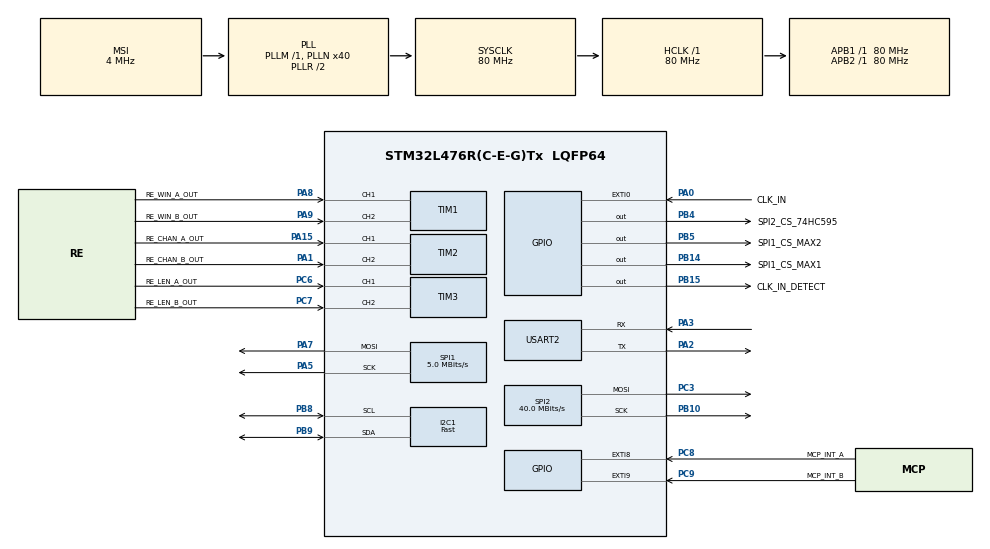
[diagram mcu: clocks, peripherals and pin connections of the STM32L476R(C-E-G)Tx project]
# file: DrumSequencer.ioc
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I2C1.I2C_Speed_Mode=I2C_Fast
I2C1.Timing=0x00F12981
Mcu.Family=STM32L4
Mcu.Name=STM32L476R(C-E-G)Tx
Mcu.Package=LQFP64
NVIC.EXTI0_IRQn=true\:0\:0\:false\:false\:true\:true\:true\:true
NVIC.EXTI9_5_IRQn=true\:0\:0\:false\:false\:true\:true\:true\:true
NVIC.PriorityGroup=NVIC_PRIORITYGROUP_4
NVIC.TIM1_CC_IRQn=true\:0\:0\:false\:false\:true\:true\:true\:true
NVIC.TIM2_IRQn=true\:0\:0\:false\:false\:true\:true\:true\:true
NVIC.TIM3_IRQn=true\:0\:0\:false\:false\:true\:true\:true\:true
PA0.GPIO_Label=CLK_IN
PA0.Signal=GPXTI0
PA1.GPIO_Label=RE_CHAN_B_OUT
PA1.Signal=S_TIM2_CH2
PA15\ (JTDI).GPIO_Label=RE_CHAN_A_OUT
PA15\ (JTDI).Signal=S_TIM2_CH1
PA2.Mode=Asynchronous
PA2.Signal=USART2_TX
PA3.Mode=Asynchronous
PA3.Signal=USART2_RX
PA5.Mode=TX_Only_Simplex_Unidirect_Master
PA5.Signal=SPI1_SCK
PA7.Mode=TX_Only_Simplex_Unidirect_Master
PA7.Signal=SPI1_MOSI
PA8.GPIO_Label=RE_WIN_A_OUT
PA8.Signal=S_TIM1_CH1
PA9.GPIO_Label=RE_WIN_B_OUT
PA9.Signal=S_TIM1_CH2
PB10.Mode=TX_Only_Simplex_Unidirect_Master
PB10.Signal=SPI2_SCK
PB14.GPIO_Label=SPI1_CS_MAX1
PB14.PinState=GPIO_PIN_SET
PB14.Signal=GPIO_Output
PB15.GPIO_Label=CLK_IN_DETECT
PB15.Signal=GPIO_Output
PB4\ (NJTRST).GPIO_Label=SPI2_CS_74HC595
PB4\ (NJTRST).Signal=GPIO_Output
PB5.GPIO_Label=SPI1_CS_MAX2
PB5.PinState=GPIO_PIN_SET
PB5.Signal=GPIO_Output
PB8.Mode=I2C
PB8.Signal=I2C1_SCL
PB9.Mode=I2C
PB9.Signal=I2C1_SDA
PC3.Mode=TX_Only_Simplex_Unidirect_Master
PC3.Signal=SPI2_MOSI
PC6.GPIO_Label=RE_LEN_A_OUT
PC6.Signal=S_TIM3_CH1
PC7.GPIO_Label=RE_LEN_B_OUT
PC7.Signal=S_TIM3_CH2
PC8.GPIO_Label=MCP_INT_A
PC8.GPIO_ModeDefaultEXTI=GPIO_MODE_IT_FALLING
PC8.Signal=GPXTI8
PC9.GPIO_Label=MCP_INT_B
PC9.Signal=GPXTI9
ProjectManager.HeapSize=0x200
ProjectManager.StackSize=0x400
ProjectManager.TargetToolchain=STM32CubeIDE
RCC.ADCFreq_Value=16000000
RCC.AHBFreq_Value=80000000
RCC.APB1Freq_Value=80000000
RCC.APB1TimFreq_Value=80000000
RCC.APB2Freq_Value=80000000
RCC.APB2TimFreq_Value=80000000
RCC.CortexFreq_Value=80000000
RCC.HCLKFreq_Value=80000000
RCC.HSE_VALUE=8000000
RCC.HSI_VALUE=16000000
RCC.LSE_VALUE=32768
RCC.MSI_VALUE=4000000
RCC.PLLN=40
RCC.PREFETCH_ENABLE=1
RCC.SYSCLKFreq_VALUE=80000000
RCC.SYSCLKSource=RCC_SYSCLKSOURCE_PLLCLK
RCC.USBFreq_Value=16000000
RCC.VCOOutputFreq_Value=160000000
SH.S_TIM1_CH1.0=TIM1_CH1,Encoder_Interface
SH.S_TIM1_CH2.0=TIM1_CH2,Encoder_Interface
SH.S_TIM2_CH1.0=TIM2_CH1,Encoder_Interface
SH.S_TIM2_CH2.0=TIM2_CH2,Encoder_Interface
SH.S_TIM3_CH1.0=TIM3_CH1,Encoder_Interface
SH.S_TIM3_CH2.0=TIM3_CH2,Encoder_Interface
SPI1.BaudRatePrescaler=SPI_BAUDRATEPRESCALER_16
SPI1.CalculateBaudRate=5.0 MBits/s
SPI1.DataSize=SPI_DATASIZE_8BIT
SPI1.Direction=SPI_DIRECTION_2LINES
SPI1.Mode=SPI_MODE_MASTER
SPI1.NSSPMode=SPI_NSS_PULSE_DISABLE
SPI1.VirtualType=VM_MASTER
SPI2.CLKPhase=SPI_PHASE_1EDGE
SPI2.CalculateBaudRate=40.0 MBits/s
SPI2.DataSize=SPI_DATASIZE_8BIT
SPI2.Direction=SPI_DIRECTION_2LINES
SPI2.FirstBit=SPI_FIRSTBIT_MSB
SPI2.Mode=SPI_MODE_MASTER
SPI2.VirtualType=VM_MASTER
USART2.VirtualMode-Asynchronous=VM_ASYNC
USART2.WordLength=WORDLENGTH_7B
VP_TIM6_VS_ClockSourceINT.Mode=Enable_Timer
board=NUCLEO-L476RG

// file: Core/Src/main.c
/* USER CODE BEGIN Header */
/**
 ******************************************************************************
 * @file           : main.c
 * @brief          : Main program body
 ******************************************************************************
 * @attention
 *
 * Copyright (c) 2026 STMicroelectronics.
 * All rights reserved.
 *
 * This software is licensed under terms that can be found in the LICENSE file
 * in the root directory of this software component.
 * If no LICENSE file comes with this software, it is provided AS-IS.
 *
 ******************************************************************************
 */
/* USER CODE END Header */
#include "main.h"

/* USER CODE BEGIN Includes */
#include "stdio.h"
#include "MAX7219.h"
#include "MCP23017.h"
#include "74HC595.h"
#include "Encoder.h"
#include "SSD1306.h"
#include "sequencer.h"
#include "ui.h"
#include "utils.h"
#include "flash.h"

/* USER CODE END Includes */

/* USER CODE BEGIN PD */
#define DEBUG_LOG 1

/* USER CODE END PD */

I2C_HandleTypeDef hi2c1;

SPI_HandleTypeDef hspi1;
SPI_HandleTypeDef hspi2;

TIM_HandleTypeDef htim1;
TIM_HandleTypeDef htim2;
TIM_HandleTypeDef htim3;
TIM_HandleTypeDef htim6;

UART_HandleTypeDef huart2;

/* USER CODE BEGIN PV */

// ── External Clock Input  ──────────────────────────────────────────────────────────────
volatile uint8_t clock_tick = 0;  // set by ISR, consumed by main loop

// ── UI ─────────────────────────────────────────────────────────────
UIContext_t ui_ctx;

// ── Encoders ──────────────────────────────────────────────────────────────
// A = channel select  → TIM2
// B = channel length  → TIM3
// C = view window     → TIM1
Encoder_t *encA;
Encoder_t *encB;
Encoder_t *encC;

// Last known counts — used to compute delta each loop tick
static int16_t last_cnt_A = 0;
static int16_t last_cnt_B = 0;
static int16_t last_cnt_C = 0;

// ── Sequencer ─────────────────────────────────────────────────────────────
Sequencer_t seq;

// ── MCP ───────────────────────────────────────────────────────────────────
MCP23017_Handle mcp;
/* USER CODE END PV */

void SystemClock_Config(void);
static void MX_GPIO_Init(void);
static void MX_SPI1_Init(void);
static void MX_I2C1_Init(void);
static void MX_USART2_UART_Init(void);
static void MX_TIM3_Init(void);
static void MX_SPI2_Init(void);
static void MX_TIM1_Init(void);
static void MX_TIM2_Init(void);
static void MX_TIM6_Init(void);
/* USER CODE BEGIN PFP */
#define PUTCHAR_PROTOTYPE int __io_putchar(int ch)
/* USER CODE END PFP */

/* USER CODE BEGIN 0 */

static void apply_clock_mode_impl(uint8_t clock_mode) {
    GPIO_InitTypeDef g = {
        .Pin   = CLK_IN_Pin,
        .Pull  = GPIO_NOPULL,
        .Speed = GPIO_SPEED_FREQ_LOW,
    };
    if (clock_mode == 1) {
        g.Mode = GPIO_MODE_OUTPUT_PP;
        HAL_GPIO_Init(CLK_IN_GPIO_Port, &g);
        HAL_NVIC_DisableIRQ(EXTI0_IRQn);
    } else {
        g.Mode = GPIO_MODE_IT_RISING;
        HAL_GPIO_Init(CLK_IN_GPIO_Port, &g);
        HAL_NVIC_EnableIRQ(EXTI0_IRQn);
    }
}

static void clock_output(uint8_t high) {
	HAL_GPIO_WritePin(CLK_IN_GPIO_Port, CLK_IN_Pin, high);
}

static UIFlashResult_t flash_write_impl(uint8_t slot, const SeqPreset_t *preset) {
    return Flash_WritePreset(slot, preset) == HAL_OK ? UI_FLASH_OK : UI_FLASH_ERR;
}
static void flash_read_impl(uint8_t slot, SeqPreset_t *preset) {
    Flash_ReadPreset(slot, preset);
}
static uint8_t flash_valid_impl(uint8_t slot) {
    return Flash_SlotValid(slot);
}

// ── MCP23017 button callback ───────────────────────────────────────────────
static void OnStepButton(MCP23017_Port port, MCP23017_Pin pin, uint8_t state) {
	if (port != MCP23017_PORT_A || pin >= 8) return;

	uint32_t now = HAL_GetTick();

	UIQueue_Push((UIEvent_t){
		.tick_ms = now,
		.type  = state ? EVT_STEP_PRESS : EVT_STEP_RELEASE,
		.value = pin
	});
}

static void OnFunctionButton(MCP23017_Port port, MCP23017_Pin pin, uint8_t state) {
	if (port != MCP23017_PORT_B) return;

	uint32_t now = HAL_GetTick();

	switch (pin) {
	case 0:
		UIQueue_Push((UIEvent_t){
			.tick_ms = now,
			.type = state ? EVT_ALT_PRESS : EVT_ALT_RELEASE
		});
		break;
	case 1:
		UIQueue_Push((UIEvent_t){
			.tick_ms = now,
					.type = state ? EVT_FILL_PRESS : EVT_FILL_RELEASE
		});
		break;
	case 5:
		UIQueue_Push((UIEvent_t){
			.tick_ms = now,
					.type = state ? EVT_RECORD_PRESS : EVT_RECORD_RELEASE
		});
		break;
	case 2: if (state == 1) UIQueue_Push((UIEvent_t){ .tick_ms = now, .type = EVT_ENC_B_PUSH }); break;
	case 3: if (state == 1) UIQueue_Push((UIEvent_t){ .tick_ms = now,.type = EVT_ENC_A_PUSH }); break;
	case 4: if (state == 1) UIQueue_Push((UIEvent_t){ .tick_ms = now,.type = EVT_ENC_C_PUSH }); break;
	}
}

/* USER CODE END 0 */

int main(void)
{

  /* MCU Configuration--------------------------------------------------------*/

  /* Reset of all peripherals, Initializes the Flash interface and the Systick. */
  HAL_Init();

  /* Configure the system clock */
  SystemClock_Config();

  /* Initialize all configured peripherals */
  MX_GPIO_Init();
  MX_SPI1_Init();
  MX_I2C1_Init();
  MX_USART2_UART_Init();
  MX_TIM3_Init();
  MX_SPI2_Init();
  MX_TIM1_Init();
  MX_TIM2_Init();
  MX_TIM6_Init();
  /* USER CODE BEGIN 2 */

	 printf("\n\n\n\n-----------------\r\nStarting\r\n-----------------\r\n");

	 // ── Sequencer ─────────────────────────────────────────────────────────
	 Seq_Init(&seq, clock_output);
	 printf("Initialized Sequencer\r\n");

	 // ── UI ─────────────────────────────────────────────────────────
	 UI_Init(&ui_ctx,
	         flash_write_impl,
	         flash_read_impl,
	         flash_valid_impl,
	         apply_clock_mode_impl);
	 printf("Initialized UI\r\n");

	 // ── Encoders ──────────────────────────────────────────────────────────
	 encA = Encoder_Add(&htim3); // Turn A = channel select
	 encB = Encoder_Add(&htim2); // Turn B = channel length
	 encC = Encoder_Add(&htim1); // Turn C = view window

	 Encoder_Start(encA);
	 Encoder_Start(encB);
	 Encoder_Start(encC);

	 last_cnt_A = Encoder_GetCount(encA);
	 last_cnt_B = Encoder_GetCount(encB);
	 last_cnt_C = Encoder_GetCount(encC);

	 printf("Initialized Encoders\r\n");

	 MAX7219_init();

	 printf("Initialized MAX7219\r\n");
	 //enc1 = Encoder_Add(&htim3);
	 //Encoder_Start(enc1);

	 MCP23017_InitHandle(&mcp, &hi2c1, 0);

	 // Step buttons → PORT_A pins 0–7
	 for (uint8_t i = 0; i < 8; i++) {
		 MCP23017_SetPinMode(&mcp,     MCP23017_PORT_A, i, MCP23017_MODE_INPUT);
		 MCP23017_SetPinCallback(&mcp, MCP23017_PORT_A, i, OnStepButton);
	 }

	 // Encoder A push button
	 MCP23017_SetPinMode(&mcp,     MCP23017_PORT_B, 3, MCP23017_MODE_INPUT);
	 MCP23017_SetPinCallback(&mcp, MCP23017_PORT_B, 3, OnFunctionButton);

	 // Encoder B push button
	 MCP23017_SetPinMode(&mcp,     MCP23017_PORT_B, 2, MCP23017_MODE_INPUT);
	 MCP23017_SetPinCallback(&mcp, MCP23017_PORT_B, 2, OnFunctionButton);

	 // Encoder C push button
	 MCP23017_SetPinMode(&mcp,     MCP23017_PORT_B, 4, MCP23017_MODE_INPUT);
	 MCP23017_SetPinCallback(&mcp, MCP23017_PORT_B, 4, OnFunctionButton);

	 // ALT Button
	 MCP23017_SetPinMode(&mcp,     MCP23017_PORT_B, 0, MCP23017_MODE_INPUT);
	 MCP23017_SetPinCallback(&mcp, MCP23017_PORT_B, 0, OnFunctionButton);

	 // FILL Button
	 MCP23017_SetPinMode(&mcp,     MCP23017_PORT_B, 1, MCP23017_MODE_INPUT);
	 MCP23017_SetPinCallback(&mcp, MCP23017_PORT_B, 1, OnFunctionButton);

	 // Record Button
	 MCP23017_SetPinMode(&mcp,     MCP23017_PORT_B, 5, MCP23017_MODE_INPUT);
	 MCP23017_SetPinCallback(&mcp, MCP23017_PORT_B, 5, OnFunctionButton);

	 printf("Initialized MCP23017\r\n");

	 HC595_init(&hspi2);
	 HC595_clear();

	 // Test: Set all button LEDs on
	 uint8_t data[HC595_NUM_DEVICES];
	 data[0] = 0xFF;
	 data[1] = 0x00;
	 data[2] = 	0x00;

	 HC595_write(data);

	 printf("Initialized 74HC595\r\n");

	 SSD1306_Init(&hi2c1);

	 // Splash screen
	 SSD1306_Fill(0);
	 printf("Initialized SSD1306\r\n");

	 seq.running = 1;

  /* USER CODE END 2 */

  /* Infinite loop */
  /* USER CODE BEGIN WHILE */
	 uint32_t prev = HAL_GetTick();
	 seq.last_clk_tick = prev;
	 while (1)
	 {
		 uint32_t now = HAL_GetTick();

		 // ── Clock ─────────────────────────────────────────────────────────
		 uint8_t clock_fired = 0;
		 if (seq.clock_mode == 1) {
			 clock_fired = Seq_TickClock(&seq, now);
		 } else if (clock_tick) {
			 clock_tick  = 0;
			 clock_fired = 1;
		 }

		 // ── Sequencer advance ─────────────────────────────────────────────
		 uint16_t ticked_mask = Seq_AdvanceAll(&seq, now, clock_fired);

		 if (ticked_mask) {
		     if (ui_ctx.fill_held && (ticked_mask & (1u << seq.current_channel)))
		         seq.channels[seq.current_channel].gate_forced = 1;
		     ui_ctx.matrix_dirty = 1;
		 }

		 // ── Roll + gate outputs ───────────────────────────────────────────
		 Seq_UpdateRoll(&seq, now);
		 Seq_UpdateGateOutputs(&seq, now);

		 // ── Input ─────────────────────────────────────────────────────────
		 if (Encoder_HasChanged(encA)) {
			 int16_t cnt = Encoder_GetCount(encA);
			 UIQueue_Push((UIEvent_t){ .tick_ms = now, .type = EVT_ENC_A_TURN, .value = cnt - last_cnt_A });
			 last_cnt_A = cnt;
		 }

		 // ── Encoder B ─────────────────────────────────────────────────────────
		 if (Encoder_HasChanged(encB)) {
			 int16_t cnt = Encoder_GetCount(encB);
			 UIQueue_Push((UIEvent_t){ .tick_ms = now, .type = EVT_ENC_B_TURN, .value = cnt - last_cnt_B });
			 last_cnt_B = cnt;
		 }

		 // ── Encoder C ─────────────────────────────────────────────────────────
		 if (Encoder_HasChanged(encC)) {
			 int16_t cnt = Encoder_GetCount(encC);
			 UIQueue_Push((UIEvent_t){ .tick_ms = now, .type = EVT_ENC_C_TURN, .value = cnt - last_cnt_C });
			 last_cnt_C = cnt;
		 }

		 MCP23017_Poll(&mcp);

		 UIEvent_t evt;
		 while (UIQueue_Pop(&evt)) {
			 UI_Dispatch(&ui_ctx, &seq, &evt);
		 }

		 // ── Display ───────────────────────────────────────────────────────
		 static uint32_t last_ui_update_ms = 0;

		 if (ui_ctx.stepleds_dirty) {
			 UI_UpdateStepLEDs(&ui_ctx, &seq);
			 ui_ctx.stepleds_dirty = 0;
		 }

		 // Only update the display if more than 40ms remaining until next clock tick
		 // Display update takes around 31ms
		 uint32_t next_tick_ms = Seq_NextTickMs(&seq, now);

		 if (ui_ctx.display_dirty && (next_tick_ms > now) && (next_tick_ms - now) >= 40) {
			 UI_UpdateDisplay(&ui_ctx, &seq);
			 ui_ctx.display_dirty = 0;
			 last_ui_update_ms = now;
		 }

		 if (prev < ui_ctx.channel_flash_until_ms && now > ui_ctx.channel_flash_until_ms) {
			 ui_ctx.matrix_dirty = 1;
			 ui_ctx.channel_flash_until_ms = 0;
		 }
		 if (prev < ui_ctx.length_flash_until_ms && now > ui_ctx.length_flash_until_ms) {
			 ui_ctx.matrix_dirty = 1;
			 ui_ctx.length_flash_until_ms = 0;
		 }

		 if (ui_ctx.matrix_dirty && (now - last_ui_update_ms) >= 10) {
			 UI_UpdateMatrix(&ui_ctx, &seq);
			 ui_ctx.matrix_dirty = 0;
			 last_ui_update_ms = now;
		 }

		 prev = now;
    /* USER CODE END WHILE */

	 }
}

void SystemClock_Config(void)
{
  RCC_OscInitTypeDef RCC_OscInitStruct = {0};
  RCC_ClkInitTypeDef RCC_ClkInitStruct = {0};

  /** Configure the main internal regulator output voltage
  */
  if (HAL_PWREx_ControlVoltageScaling(PWR_REGULATOR_VOLTAGE_SCALE1) != HAL_OK)
  {
    Error_Handler();
  }

  /** Initializes the RCC Oscillators according to the specified parameters
  * in the RCC_OscInitTypeDef structure.
  */
  RCC_OscInitStruct.OscillatorType = RCC_OSCILLATORTYPE_MSI;
  RCC_OscInitStruct.MSIState = RCC_MSI_ON;
  RCC_OscInitStruct.MSICalibrationValue = 0;
  RCC_OscInitStruct.MSIClockRange = RCC_MSIRANGE_6;
  RCC_OscInitStruct.PLL.PLLState = RCC_PLL_ON;
  RCC_OscInitStruct.PLL.PLLSource = RCC_PLLSOURCE_MSI;
  RCC_OscInitStruct.PLL.PLLM = 1;
  RCC_OscInitStruct.PLL.PLLN = 40;
  RCC_OscInitStruct.PLL.PLLP = RCC_PLLP_DIV7;
  RCC_OscInitStruct.PLL.PLLQ = RCC_PLLQ_DIV2;
  RCC_OscInitStruct.PLL.PLLR = RCC_PLLR_DIV2;
  if (HAL_RCC_OscConfig(&RCC_OscInitStruct) != HAL_OK)
  {
    Error_Handler();
  }

  /** Initializes the CPU, AHB and APB buses clocks
  */
  RCC_ClkInitStruct.ClockType = RCC_CLOCKTYPE_HCLK|RCC_CLOCKTYPE_SYSCLK
                              |RCC_CLOCKTYPE_PCLK1|RCC_CLOCKTYPE_PCLK2;
  RCC_ClkInitStruct.SYSCLKSource = RCC_SYSCLKSOURCE_PLLCLK;
  RCC_ClkInitStruct.AHBCLKDivider = RCC_SYSCLK_DIV1;
  RCC_ClkInitStruct.APB1CLKDivider = RCC_HCLK_DIV1;
  RCC_ClkInitStruct.APB2CLKDivider = RCC_HCLK_DIV1;

  if (HAL_RCC_ClockConfig(&RCC_ClkInitStruct, FLASH_LATENCY_4) != HAL_OK)
  {
    Error_Handler();
  }
}

static void MX_I2C1_Init(void)
{

  hi2c1.Instance = I2C1;
  hi2c1.Init.Timing = 0x00F12981;
  hi2c1.Init.OwnAddress1 = 0;
  hi2c1.Init.AddressingMode = I2C_ADDRESSINGMODE_7BIT;
  hi2c1.Init.DualAddressMode = I2C_DUALADDRESS_DISABLE;
  hi2c1.Init.OwnAddress2 = 0;
  hi2c1.Init.OwnAddress2Masks = I2C_OA2_NOMASK;
  hi2c1.Init.GeneralCallMode = I2C_GENERALCALL_DISABLE;
  hi2c1.Init.NoStretchMode = I2C_NOSTRETCH_DISABLE;
  if (HAL_I2C_Init(&hi2c1) != HAL_OK)
  {
    Error_Handler();
  }

  /** Configure Analogue filter
  */
  if (HAL_I2CEx_ConfigAnalogFilter(&hi2c1, I2C_ANALOGFILTER_ENABLE) != HAL_OK)
  {
    Error_Handler();
  }

  /** Configure Digital filter
  */
  if (HAL_I2CEx_ConfigDigitalFilter(&hi2c1, 0) != HAL_OK)
  {
    Error_Handler();
  }

}

static void MX_SPI1_Init(void)
{

  /* SPI1 parameter configuration*/
  hspi1.Instance = SPI1;
  hspi1.Init.Mode = SPI_MODE_MASTER;
  hspi1.Init.Direction = SPI_DIRECTION_2LINES;
  hspi1.Init.DataSize = SPI_DATASIZE_8BIT;
  hspi1.Init.CLKPolarity = SPI_POLARITY_LOW;
  hspi1.Init.CLKPhase = SPI_PHASE_1EDGE;
  hspi1.Init.NSS = SPI_NSS_SOFT;
  hspi1.Init.BaudRatePrescaler = SPI_BAUDRATEPRESCALER_16;
  hspi1.Init.FirstBit = SPI_FIRSTBIT_MSB;
  hspi1.Init.TIMode = SPI_TIMODE_DISABLE;
  hspi1.Init.CRCCalculation = SPI_CRCCALCULATION_DISABLE;
  hspi1.Init.CRCPolynomial = 7;
  hspi1.Init.CRCLength = SPI_CRC_LENGTH_DATASIZE;
  hspi1.Init.NSSPMode = SPI_NSS_PULSE_DISABLE;
  if (HAL_SPI_Init(&hspi1) != HAL_OK)
  {
    Error_Handler();
  }

}

static void MX_SPI2_Init(void)
{

  /* SPI2 parameter configuration*/
  hspi2.Instance = SPI2;
  hspi2.Init.Mode = SPI_MODE_MASTER;
  hspi2.Init.Direction = SPI_DIRECTION_2LINES;
  hspi2.Init.DataSize = SPI_DATASIZE_8BIT;
  hspi2.Init.CLKPolarity = SPI_POLARITY_LOW;
  hspi2.Init.CLKPhase = SPI_PHASE_1EDGE;
  hspi2.Init.NSS = SPI_NSS_SOFT;
  hspi2.Init.BaudRatePrescaler = SPI_BAUDRATEPRESCALER_2;
  hspi2.Init.FirstBit = SPI_FIRSTBIT_MSB;
  hspi2.Init.TIMode = SPI_TIMODE_DISABLE;
  hspi2.Init.CRCCalculation = SPI_CRCCALCULATION_DISABLE;
  hspi2.Init.CRCPolynomial = 7;
  hspi2.Init.CRCLength = SPI_CRC_LENGTH_DATASIZE;
  hspi2.Init.NSSPMode = SPI_NSS_PULSE_ENABLE;
  if (HAL_SPI_Init(&hspi2) != HAL_OK)
  {
    Error_Handler();
  }

}

static void MX_TIM1_Init(void)
{

  TIM_Encoder_InitTypeDef sConfig = {0};
  TIM_MasterConfigTypeDef sMasterConfig = {0};

  htim1.Instance = TIM1;
  htim1.Init.Prescaler = 0;
  htim1.Init.CounterMode = TIM_COUNTERMODE_UP;
  htim1.Init.Period = 65535;
  htim1.Init.ClockDivision = TIM_CLOCKDIVISION_DIV1;
  htim1.Init.RepetitionCounter = 0;
  htim1.Init.AutoReloadPreload = TIM_AUTORELOAD_PRELOAD_DISABLE;
  sConfig.EncoderMode = TIM_ENCODERMODE_TI1;
  sConfig.IC1Polarity = TIM_ICPOLARITY_RISING;
  sConfig.IC1Selection = TIM_ICSELECTION_DIRECTTI;
  sConfig.IC1Prescaler = TIM_ICPSC_DIV1;
  sConfig.IC1Filter = 0;
  sConfig.IC2Polarity = TIM_ICPOLARITY_RISING;
  sConfig.IC2Selection = TIM_ICSELECTION_DIRECTTI;
  sConfig.IC2Prescaler = TIM_ICPSC_DIV1;
  sConfig.IC2Filter = 0;
  if (HAL_TIM_Encoder_Init(&htim1, &sConfig) != HAL_OK)
  {
    Error_Handler();
  }
  sMasterConfig.MasterOutputTrigger = TIM_TRGO_RESET;
  sMasterConfig.MasterOutputTrigger2 = TIM_TRGO2_RESET;
  sMasterConfig.MasterSlaveMode = TIM_MASTERSLAVEMODE_DISABLE;
  if (HAL_TIMEx_MasterConfigSynchronization(&htim1, &sMasterConfig) != HAL_OK)
  {
    Error_Handler();
  }

}

static void MX_TIM2_Init(void)
{

  TIM_Encoder_InitTypeDef sConfig = {0};
  TIM_MasterConfigTypeDef sMasterConfig = {0};

  htim2.Instance = TIM2;
  htim2.Init.Prescaler = 0;
  htim2.Init.CounterMode = TIM_COUNTERMODE_UP;
  htim2.Init.Period = 4294967295;
  htim2.Init.ClockDivision = TIM_CLOCKDIVISION_DIV1;
  htim2.Init.AutoReloadPreload = TIM_AUTORELOAD_PRELOAD_DISABLE;
  sConfig.EncoderMode = TIM_ENCODERMODE_TI1;
  sConfig.IC1Polarity = TIM_ICPOLARITY_RISING;
  sConfig.IC1Selection = TIM_ICSELECTION_DIRECTTI;
  sConfig.IC1Prescaler = TIM_ICPSC_DIV1;
  sConfig.IC1Filter = 0;
  sConfig.IC2Polarity = TIM_ICPOLARITY_RISING;
  sConfig.IC2Selection = TIM_ICSELECTION_DIRECTTI;
  sConfig.IC2Prescaler = TIM_ICPSC_DIV1;
  sConfig.IC2Filter = 0;
  if (HAL_TIM_Encoder_Init(&htim2, &sConfig) != HAL_OK)
  {
    Error_Handler();
  }
  sMasterConfig.MasterOutputTrigger = TIM_TRGO_RESET;
  sMasterConfig.MasterSlaveMode = TIM_MASTERSLAVEMODE_DISABLE;
  if (HAL_TIMEx_MasterConfigSynchronization(&htim2, &sMasterConfig) != HAL_OK)
  {
    Error_Handler();
  }

}

static void MX_TIM3_Init(void)
{

  TIM_Encoder_InitTypeDef sConfig = {0};
  TIM_MasterConfigTypeDef sMasterConfig = {0};

  htim3.Instance = TIM3;
  htim3.Init.Prescaler = 0;
  htim3.Init.CounterMode = TIM_COUNTERMODE_UP;
  htim3.Init.Period = 65535;
  htim3.Init.ClockDivision = TIM_CLOCKDIVISION_DIV1;
  htim3.Init.AutoReloadPreload = TIM_AUTORELOAD_PRELOAD_DISABLE;
  sConfig.EncoderMode = TIM_ENCODERMODE_TI1;
  sConfig.IC1Polarity = TIM_ICPOLARITY_RISING;
  sConfig.IC1Selection = TIM_ICSELECTION_DIRECTTI;
  sConfig.IC1Prescaler = TIM_ICPSC_DIV1;
  sConfig.IC1Filter = 0;
  sConfig.IC2Polarity = TIM_ICPOLARITY_RISING;
  sConfig.IC2Selection = TIM_ICSELECTION_DIRECTTI;
  sConfig.IC2Prescaler = TIM_ICPSC_DIV1;
  sConfig.IC2Filter = 0;
  if (HAL_TIM_Encoder_Init(&htim3, &sConfig) != HAL_OK)
  {
    Error_Handler();
  }
  sMasterConfig.MasterOutputTrigger = TIM_TRGO_RESET;
  sMasterConfig.MasterSlaveMode = TIM_MASTERSLAVEMODE_DISABLE;
  if (HAL_TIMEx_MasterConfigSynchronization(&htim3, &sMasterConfig) != HAL_OK)
  {
    Error_Handler();
  }

}

static void MX_TIM6_Init(void)
{

  TIM_MasterConfigTypeDef sMasterConfig = {0};

  htim6.Instance = TIM6;
  htim6.Init.Prescaler = 0;
  htim6.Init.CounterMode = TIM_COUNTERMODE_UP;
  htim6.Init.Period = 65535;
  htim6.Init.AutoReloadPreload = TIM_AUTORELOAD_PRELOAD_DISABLE;
  if (HAL_TIM_Base_Init(&htim6) != HAL_OK)
  {
    Error_Handler();
  }
  sMasterConfig.MasterOutputTrigger = TIM_TRGO_RESET;
  sMasterConfig.MasterSlaveMode = TIM_MASTERSLAVEMODE_DISABLE;
  if (HAL_TIMEx_MasterConfigSynchronization(&htim6, &sMasterConfig) != HAL_OK)
  {
    Error_Handler();
  }

}

static void MX_USART2_UART_Init(void)
{

  huart2.Instance = USART2;
  huart2.Init.BaudRate = 115200;
  huart2.Init.WordLength = UART_WORDLENGTH_7B;
  huart2.Init.StopBits = UART_STOPBITS_1;
  huart2.Init.Parity = UART_PARITY_NONE;
  huart2.Init.Mode = UART_MODE_TX_RX;
  huart2.Init.HwFlowCtl = UART_HWCONTROL_NONE;
  huart2.Init.OverSampling = UART_OVERSAMPLING_16;
  huart2.Init.OneBitSampling = UART_ONE_BIT_SAMPLE_DISABLE;
  huart2.AdvancedInit.AdvFeatureInit = UART_ADVFEATURE_NO_INIT;
  if (HAL_UART_Init(&huart2) != HAL_OK)
  {
    Error_Handler();
  }

}

static void MX_GPIO_Init(void)
{
  GPIO_InitTypeDef GPIO_InitStruct = {0};

  /* GPIO Ports Clock Enable */
  __HAL_RCC_GPIOC_CLK_ENABLE();
  __HAL_RCC_GPIOA_CLK_ENABLE();
  __HAL_RCC_GPIOB_CLK_ENABLE();

  /*Configure GPIO pin Output Level */
  HAL_GPIO_WritePin(GPIOB, SPI1_CS_MAX1_Pin|SPI1_CS_MAX2_Pin, GPIO_PIN_SET);

  /*Configure GPIO pin Output Level */
  HAL_GPIO_WritePin(GPIOB, CLK_IN_DETECT_Pin|SPI2_CS_74HC595_Pin, GPIO_PIN_RESET);

  /*Configure GPIO pin : CLK_IN_Pin */
  GPIO_InitStruct.Pin = CLK_IN_Pin;
  GPIO_InitStruct.Mode = GPIO_MODE_IT_RISING;
  GPIO_InitStruct.Pull = GPIO_NOPULL;
  HAL_GPIO_Init(CLK_IN_GPIO_Port, &GPIO_InitStruct);

  /*Configure GPIO pins : SPI1_CS_MAX1_Pin CLK_IN_DETECT_Pin SPI2_CS_74HC595_Pin SPI1_CS_MAX2_Pin */
  GPIO_InitStruct.Pin = SPI1_CS_MAX1_Pin|CLK_IN_DETECT_Pin|SPI2_CS_74HC595_Pin|SPI1_CS_MAX2_Pin;
  GPIO_InitStruct.Mode = GPIO_MODE_OUTPUT_PP;
  GPIO_InitStruct.Pull = GPIO_NOPULL;
  GPIO_InitStruct.Speed = GPIO_SPEED_FREQ_LOW;
  HAL_GPIO_Init(GPIOB, &GPIO_InitStruct);

  /*Configure GPIO pin : MCP_INT_A_Pin */
  GPIO_InitStruct.Pin = MCP_INT_A_Pin;
  GPIO_InitStruct.Mode = GPIO_MODE_IT_FALLING;
  GPIO_InitStruct.Pull = GPIO_NOPULL;
  HAL_GPIO_Init(MCP_INT_A_GPIO_Port, &GPIO_InitStruct);

  /*Configure GPIO pin : MCP_INT_B_Pin */
  GPIO_InitStruct.Pin = MCP_INT_B_Pin;
  GPIO_InitStruct.Mode = GPIO_MODE_IT_RISING;
  GPIO_InitStruct.Pull = GPIO_NOPULL;
  HAL_GPIO_Init(MCP_INT_B_GPIO_Port, &GPIO_InitStruct);

  /* EXTI interrupt init*/
  HAL_NVIC_SetPriority(EXTI0_IRQn, 0, 0);
  HAL_NVIC_EnableIRQ(EXTI0_IRQn);

  HAL_NVIC_SetPriority(EXTI9_5_IRQn, 0, 0);
  HAL_NVIC_EnableIRQ(EXTI9_5_IRQn);

}

/* USER CODE BEGIN 4 */

 /**
  * @brief  Retargets the C library printf function to the USART.
  *   None
  * @retval None
  */
 PUTCHAR_PROTOTYPE
 {
#if DEBUG_LOG
	 /* Place your implementation of fputc here */
	 /* e.g. write a character to the USART1 and Loop until the end of transmission */
	 HAL_UART_Transmit(&huart2, (uint8_t *)&ch, 1, 0xFFFF);
#endif
	 return ch;
 }

 void HAL_GPIO_EXTI_Callback(uint16_t GPIO_Pin)
 {
	 if (GPIO_Pin == CLK_IN_Pin) {
		 clock_tick = 1;
	 }
 }

/* USER CODE END 4 */

void Error_Handler(void)
{
	 __disable_irq();
	 while (1)
	 {
	 }
}
